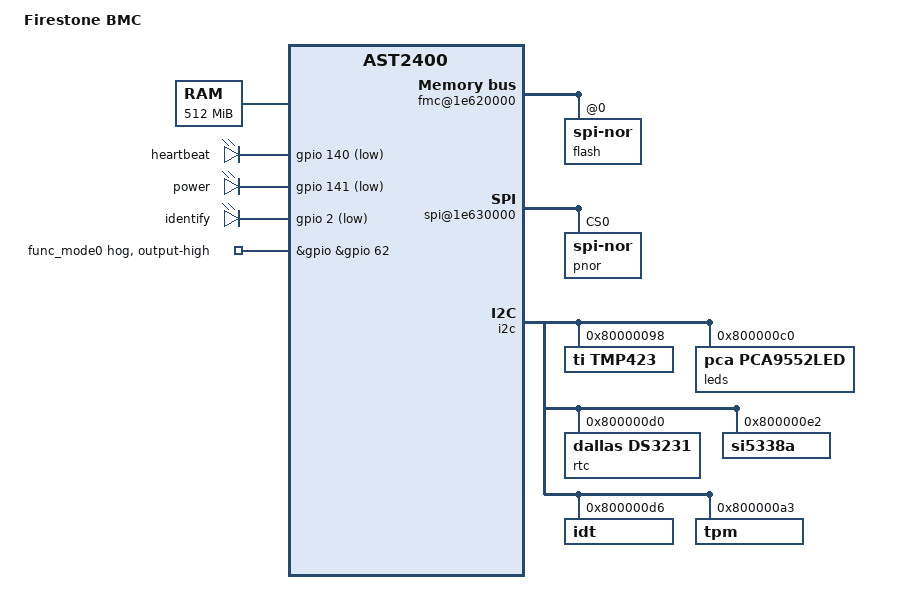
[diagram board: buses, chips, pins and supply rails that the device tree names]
/dts-v1/;

#include "ast2400.dtsi"
#include <dt-bindings/gpio/gpio.h>

/ {
	model = "Firestone BMC";
	compatible = "ibm,firestone-bmc", "aspeed,ast2400";

	aliases {
		serial0 = &uart5;
	};

	chosen {
		stdout-path = &uart5;
		bootargs = "console=ttyS4,38400";
	};

	memory {
		reg = < 0x40000000 0x20000000 >;
	};

	ahb {
		fmc@1e620000 {
			reg = < 0x1e620000 0x94
				0x20000000 0x02000000 >;
			#address-cells = <1>;
			#size-cells = <0>;
			compatible = "aspeed,fmc";
			flash@0 {
				reg = < 0 >;
				compatible = "jedec,spi-nor" ;
				/*
				 * Possibly required props:
				 * spi-max-frequency = <>
				 * spi-tx-bus-width = <>
				 * spi-rx-bus-width  = <>
				 * m25p,fast-read
				 * spi-cpol if inverse clock polarity (CPOL)
				 * spi-cpha if shifted clock phase (CPHA)
				 */
#include "aspeed-bmc-opp-flash-layout.dtsi"
			};
		};
		mac0: ethernet@1e660000 {
			no-hw-checksum;
		};
		spi@1e630000 {
			reg = < 0x1e630000 0x18
				0x30000000 0x02000000 >;
			#address-cells = <1>;
			#size-cells = <0>;
			compatible = "aspeed,smc";
			flash {
				reg = < 0 >;
				compatible = "jedec,spi-nor" ;
				label = "pnor";
				/* spi-max-frequency = <>; */
				/* m25p,fast-read; */
			};
		};
		apb {
			i2c: i2c@1e78a040 {
				i2c0: i2c-bus@40 {
					// grounded
				};
				i2c1: i2c-bus@80 {
					// grounded
				};
				i2c2: i2c-bus@c0 {
					// i2c mux
				};
				i2c3: i2c-bus@100 {
					// i2c hub PCA9516A
				};
				i2c4: i2c-bus@140 {
					// turismo
				};
				i2c5: i2c-bus@180 {
					tmp423@98 {
						compatible = "ti,tmp423";
						reg = <0x80000098>;
					};
				};
				i2c6: i2c-bus@1c0 {
					// nc
				};
				i2c7: i2c-bus@300 {
					// nc
				};
				i2c8: i2c-bus@340 {
					// FSI
					status = "disabled";
				};
				i2c9: i2c-bus@380 {
					// 4 way mux
				};
				i2c10: i2c-bus@3c0 {
					// 4 way mux
				};
				i2c11: i2c-bus@400 {
					status = "okay";
					leds@c0 {
						compatible = "pca,pca9552led";
						reg = <0x800000c0>;
						// led9 - led_fault_n
						// led10 - pwr_led_n
						// led11 - rear_id_led_n
					};
					rtc@d0 {
						compatible = "dallas,ds3231";
						reg = <0x800000d0>;
					};
					si5338a@e2 {
						// SiLabs clock generator
						reg =<0x800000e2>;
					};

					idt@d6 {
						// IDT 9DBV0641 clock buffer
						reg = <0x800000d6>;
					};

					tpm@a3 {
						reg = <0x800000a3>;
					};
				};
				i2c12: i2c-bus@440 {
					// i2c hub PCA9516A
				};
				i2c13: i2c-bus@480 {
					// i2c hub PCA9516A
				};
			};
		};
	};

	leds {
		compatible = "gpio-leds";

		heartbeat {
			gpios = <&gpio 140 GPIO_ACTIVE_LOW>;
		};

		power {
			gpios = <&gpio 141 GPIO_ACTIVE_LOW>;
		};

		identify {
			gpios = <&gpio 2 GPIO_ACTIVE_LOW>;
		};

	};

	&gpio {
		pin_func_mode0 {
			gpio-hog;
			gpios = <&gpio 62 GPIO_ACTIVE_HIGH>;
			output-high;
			line-name = "func_mode0";
		};
	};
};
